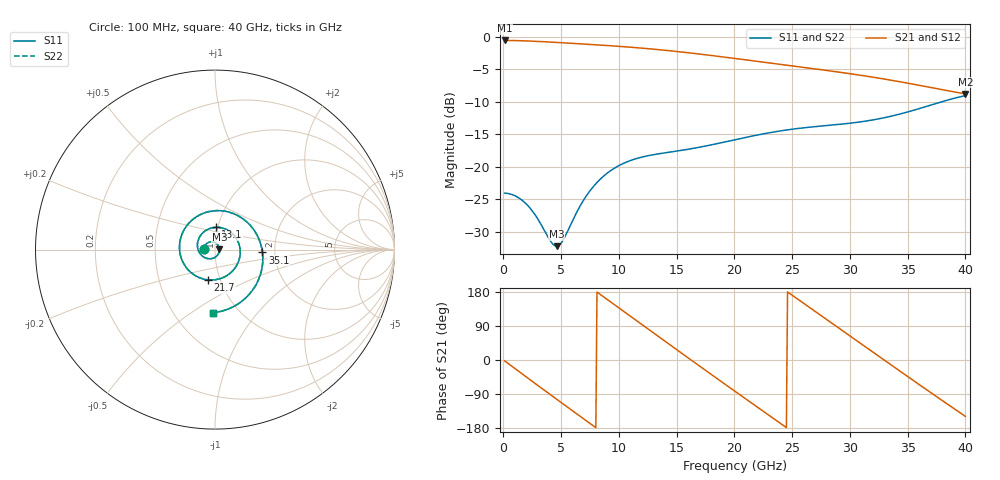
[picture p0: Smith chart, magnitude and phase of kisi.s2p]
! D_s8_stitch_1p0: L1 (ref L2) → L8 (ref L7), one GND via at 1 mm
! stackup: 8-layer 1.6 mm FR-4 (generic)
! ports: 1, 2
! kisi-fdtd, conformal, dfine 0.035 mm, 904995 cells
# Hz S RI R 50
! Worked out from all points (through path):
!   400 points, 100 MHz to 40 GHz, reference 50 ohm
!   highest |S21| = -0.59 dB at 100 MHz (marker M1); lowest = -8.8 dB at 40 GHz (marker M2)
!   group delay of S21, straight-line fit = 60.3 ps
!   lowest |S11| = -32.2 dB at 4.6 GHz (marker M3), VSWR 1.05, Z = 52.5 + j0.136 ohm
!   |S11| at or under -10 dB: start of sweep to 37.99 GHz
!   |S22| runs from -32.2 to -9.1 dB; largest |S21 - S12| = 1.4e-07
!   S11 on the Smith chart (normalised r, x): 100 MHz: 0.88, +0.01; 13.1 GHz: 0.98, +0.25; 21.7 GHz: 0.88, -0.31; 35.1 GHz: 1.72, -0.06; 40 GHz: 0.77, -0.62
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1e8  -0.0624 0.0029  0.934 -0.037  0.934 -0.037  -0.0624 0.0029
2.5e9  -0.0147 0.0432  0.5092 -0.77  0.5092 -0.77  -0.0147 0.0432
4.6e9  0.0244 0.0013  -0.2094 -0.878  -0.2094 -0.878  0.0244 0.0013
6.8e9  -0.0172 -0.0498  -0.7767 -0.4114  -0.7767 -0.4114  -0.0172 -0.0498
8.6e9  -0.0786 -0.028  -0.8409 0.1757  -0.8409 0.1757  -0.0786 -0.028
1.05e10  -0.0943 0.0504  -0.4949 0.6738  -0.4949 0.6738  -0.0943 0.0504
1.18e10  -0.0585 0.1015  -0.1088 0.8113  -0.1088 0.8113  -0.0585 0.1015
1.31e10  0.00409 0.1239  0.2864 0.7464  0.2864 0.7464  0.00409 0.1239
1.34e10  0.0201 0.1236  0.3682 0.7045  0.3682 0.7045  0.0201 0.1236
1.5e10  0.098 0.0878  0.6835 0.3523  0.6835 0.3523  0.098 0.0878
1.65e10  0.1375 0.0155  0.7397 -0.0719  0.7397 -0.0719  0.1375 0.0155
1.84e10  0.1211 -0.0877  0.4844 -0.5179  0.4844 -0.5179  0.1211 -0.0877
2.01e10  0.0521 -0.1527  0.0742 -0.6745  0.0742 -0.6745  0.0521 -0.1527
2.17e10  -0.038 -0.1687  -0.3073 -0.5732  -0.3073 -0.5732  -0.038 -0.1687
2.42e10  -0.1652 -0.0928  -0.6023 -0.0863  -0.6023 -0.0863  -0.1652 -0.0928
2.67e10  -0.1903 0.0673  -0.3995 0.4053  -0.3995 0.4053  -0.1903 0.0673
2.96e10  -0.0452 0.2089  0.1593 0.5002  0.1593 0.5002  -0.0452 0.2089
3.16e10  0.1051 0.1996  0.4307 0.2418  0.4307 0.2418  0.1051 0.1996
3.34e10  0.2145 0.1125  0.4588 -0.0757  0.4588 -0.0757  0.2145 0.1125
3.51e10  0.2643 -0.016  0.305 -0.313  0.305 -0.313  0.2643 -0.016
3.74e10  0.218 -0.2133  -0.0312 -0.3986  -0.0312 -0.3986  0.218 -0.2133
4e10  -0.00857 -0.3516  -0.3102 -0.1879  -0.3102 -0.1879  -0.00857 -0.3516
